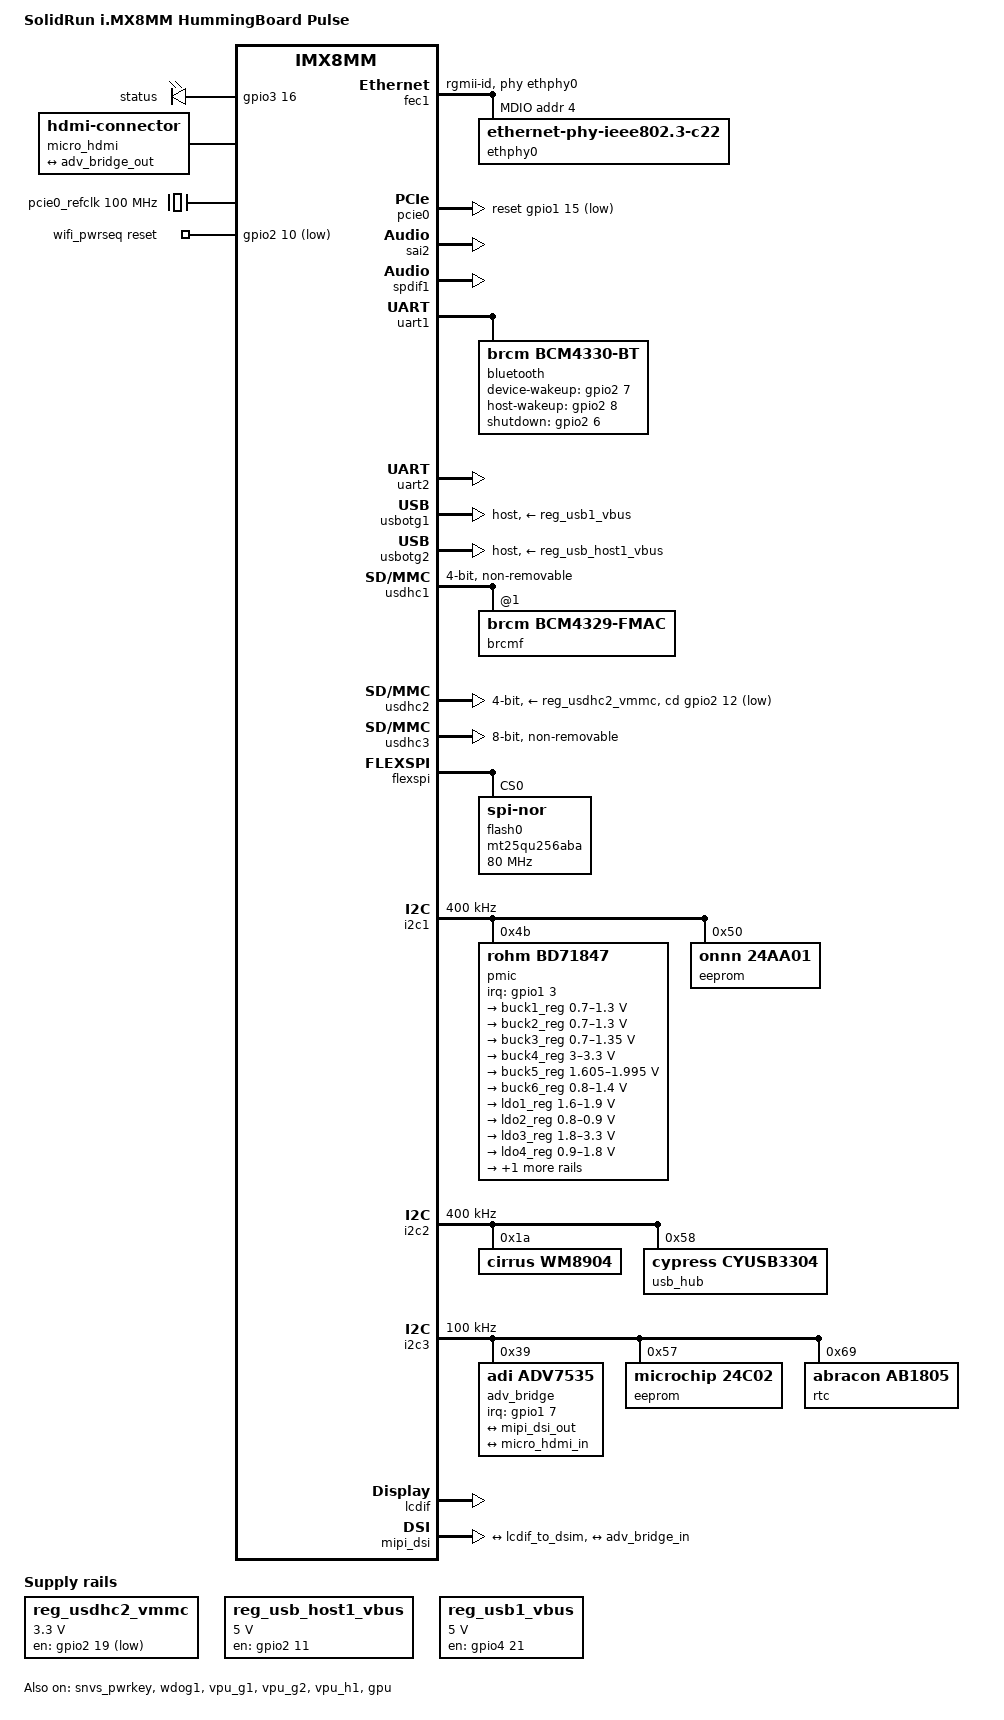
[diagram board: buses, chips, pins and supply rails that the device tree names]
// SPDX-License-Identifier: (GPL-2.0+ OR MIT)
/*
 * Copyright 2019 NXP
 * Copyright (C) 2020 Josua Mayer <josua@solid-run.com>
 */

/dts-v1/;

#include "imx8mm.dtsi"

/ {
	model = "SolidRun i.MX8MM HummingBoard Pulse";
	compatible = "solidrun,hummingboard-pulse", "fsl,imx8mm";

	reserved-memory {
		#address-cells = <2>;
		#size-cells = <2>;
		ranges;

		rpmsg_reserved: rpmsg@0xb8000000 {
			no-map;
			reg = <0 0xb8000000 0 0x400000>;
		};
	};

	chosen {
		stdout-path = &uart2;
	};

	leds {
		compatible = "gpio-leds";
		pinctrl-names = "default";
		pinctrl-0 = <&pinctrl_gpio_led>;

		status {
			label = "status";
			gpios = <&gpio3 16 GPIO_ACTIVE_HIGH>;
			default-state = "on";
		};
	};

	micro_hdmi: micro-hdmi {
		compatible = "hdmi-connector";
		type = "d";

		port@0 {
			micro_hdmi_in: endpoint {
				remote-endpoint = <&adv_bridge_out>;
			};
		};
	};

	pcie0_refclk: pcie0-refclk {
		compatible = "fixed-clock";
		#clock-cells = <0>;
		clock-frequency = <100000000>;
	};

	reg_usdhc2_vmmc: regulator-usdhc2 {
		compatible = "regulator-fixed";
		pinctrl-names = "default";
		pinctrl-0 = <&pinctrl_reg_usdhc2_vmmc>;
		regulator-name = "VSD_3V3";
		regulator-min-microvolt = <3300000>;
		regulator-max-microvolt = <3300000>;
		gpio = <&gpio2 19 GPIO_ACTIVE_LOW>;
		off-on-delay-us = <20000>;
	};

	reg_usb_host1_vbus: reg-usb-host1-vbus {
		compatible = "regulator-fixed";
		regulator-name = "usb-host1-vbus";
		gpio = <&gpio2 11 GPIO_ACTIVE_HIGH>;
		enable-active-high;
		regulator-boot-on;
		pinctrl-names = "default";
		pinctrl-0 = <&pinctrl_usb_host1_vbus>;
		regulator-min-microvolt = <5000000>;
		regulator-max-microvolt = <5000000>;
	};

	reg_usb1_vbus: reg-usb1-vbus {
		compatible = "regulator-fixed";
		regulator-name = "usb1-vbus";
		gpio = <&gpio4 21 GPIO_ACTIVE_HIGH>;
		enable-active-high;
		regulator-boot-on;
		pinctrl-names = "default";
		pinctrl-0 = <&pinctrl_usb1_vbus>;
		regulator-min-microvolt = <5000000>;
		regulator-max-microvolt = <5000000>;
	};

	sound-wm8904 {
		compatible = "simple-audio-card";
		simple-audio-card,name = "wm8904-audio";
		simple-audio-card,format = "i2s";
		simple-audio-card,frame-master = <&cpudai>;
		simple-audio-card,bitclock-master = <&cpudai>;
		simple-audio-card,widgets =
			"Headphone", "Headphone Jack",
			"Microphone", "Headphone Jack";
		simple-audio-card,routing =
			"Headphone Jack", "HPOUTL",
			"Headphone Jack", "HPOUTR",
			"Headphone Jack", "MICBIAS",
			"IN2R", "Headphone Jack";

		cpudai: simple-audio-card,cpu {
			sound-dai = <&sai2>;
			dai-tdm-slot-num = <2>;
			dai-tdm-slot-width = <16>;
		};

		simple-audio-card,codec {
			sound-dai = <&wm8904>;
		};
	};

	sound-spdif {
		compatible = "fsl,imx-audio-spdif";
		model = "imx-spdif";
		spdif-controller = <&spdif1>;
		spdif-out;
		spdif-in;
	};

	wifi_pwrseq: wifi-pwrseq {
		compatible = "mmc-pwrseq-simple";
		reset-gpios = <&gpio2 10 GPIO_ACTIVE_LOW>;
	};
};

&A53_0 {
	cpu-supply = <&buck2_reg>;
};

&fec1 {
	pinctrl-names = "default";
	pinctrl-0 = <&pinctrl_fec1>;
	phy-mode = "rgmii-id";
	phy-handle = <&ethphy0>;
	fsl,magic-packet;
	status = "okay";

	mdio {
		#address-cells = <1>;
		#size-cells = <0>;

		ethphy0: ethernet-phy@4 {
			compatible = "ethernet-phy-ieee802.3-c22";
			reg = <4>;
			at803x,led-act-blind-workaround;
			at803x,eee-okay;
			at803x,vddio-1p8v;
		};
	};
};

/* connected to on-Carrier i210 ethernet controller */
&pcie0 {
	pinctrl-names = "default";
	pinctrl-0 = <&pinctrl_pcie0>;
	disable-gpio = <&gpio1 5 GPIO_ACTIVE_LOW>;
	reset-gpio = <&gpio1 15 GPIO_ACTIVE_LOW>;
	clocks = <&clk IMX8MM_CLK_PCIE1_ROOT>,
		 <&clk IMX8MM_CLK_PCIE1_AUX>,
		 <&clk IMX8MM_CLK_PCIE1_PHY>,
		 <&pcie0_refclk>;
	clock-names = "pcie", "pcie_aux", "pcie_phy", "pcie_bus";
	ext_osc = <0>;
	hard-wired = <1>;
	reserved-region = <&rpmsg_reserved>;
	status = "okay";
};

&sai2 {
	#sound-dai-cells = <0>;
	pinctrl-names = "default";
	pinctrl-0 = <&pinctrl_sai2>;
	assigned-clocks = <&clk IMX8MM_CLK_SAI2>;
	assigned-clock-parents = <&clk IMX8MM_AUDIO_PLL1_OUT>;
	assigned-clock-rates = <24576000>;
	status = "okay";
};

&spdif1 {
	pinctrl-names = "default";
	pinctrl-0 = <&pinctrl_spdif1>;
	assigned-clocks = <&clk IMX8MM_CLK_SPDIF1>;
	assigned-clock-parents = <&clk IMX8MM_AUDIO_PLL1_OUT>;
	assigned-clock-rates = <24576000>;
	clocks = <&clk IMX8MM_CLK_AUDIO_AHB>, <&clk IMX8MM_CLK_24M>,
		<&clk IMX8MM_CLK_SPDIF1>, <&clk IMX8MM_CLK_DUMMY>,
		<&clk IMX8MM_CLK_DUMMY>, <&clk IMX8MM_CLK_DUMMY>,
		<&clk IMX8MM_CLK_AUDIO_AHB>, <&clk IMX8MM_CLK_DUMMY>,
		<&clk IMX8MM_CLK_DUMMY>, <&clk IMX8MM_CLK_DUMMY>,
		<&clk IMX8MM_AUDIO_PLL1_OUT>, <&clk IMX8MM_AUDIO_PLL2_OUT>;
	clock-names = "core", "rxtx0", "rxtx1", "rxtx2", "rxtx3",
		"rxtx4", "rxtx5", "rxtx6", "rxtx7", "spba", "pll8k", "pll11k";
	status = "okay";
};

&snvs_pwrkey {
	status = "okay";
};

&uart1 { /* BT */
	pinctrl-names = "default";
	pinctrl-0 = <&pinctrl_uart1>;
	assigned-clocks = <&clk IMX8MM_CLK_UART1>;
	assigned-clock-parents = <&clk IMX8MM_SYS_PLL1_80M>;
	fsl,uart-has-rtscts;
	status = "okay";

	bluetooth {
		compatible = "brcm,bcm4330-bt";
		device-wakeup-gpios = <&gpio2 7 GPIO_ACTIVE_HIGH>;
		host-wakeup-gpios = <&gpio2 8 GPIO_ACTIVE_HIGH>;
		shutdown-gpios = <&gpio2 6 GPIO_ACTIVE_HIGH>;
		pinctrl-names = "default";
		pinctrl-0 = <&pinctrl_uart1_bt>;
	};
};

&uart2 { /* console */
	pinctrl-names = "default";
	pinctrl-0 = <&pinctrl_uart2>;
	status = "okay";
};

&usbotg1 {
	dr_mode = "host";
	vbus-supply = <&reg_usb1_vbus>;
	status = "okay";
};

&usbotg2 {
	dr_mode = "host";
	vbus-supply = <&reg_usb_host1_vbus>;
	status = "okay";
};

&usdhc1 {
	#address-cells = <1>;
	#size-cells = <0>;
	pinctrl-names = "default", "state_100mhz", "state_200mhz";
	pinctrl-0 = <&pinctrl_usdhc1>, <&pinctrl_usdhc1_gpio>;
	pinctrl-1 = <&pinctrl_usdhc1_100mhz>, <&pinctrl_usdhc1_gpio>;
	pinctrl-2 = <&pinctrl_usdhc1_200mhz>, <&pinctrl_usdhc1_gpio>;
	bus-width = <4>;
	mmc-pwrseq = <&wifi_pwrseq>;
	cap-power-off-card;
	non-removable;
	status = "okay";

	brcmf: brcmf@1 {
		reg = <1>;
		compatible = "brcm,bcm4329-fmac";
		/*
		 * disable OOB IRQ because interrupt-storm was observed ...
		 * interrupt-parent = <&gpio2>;
		 * interrupts = <9 IRQ_TYPE_LEVEL_HIGH>;
		 * interrupt-names = "host-wake";
		 */
	};
};

&usdhc2 {
	pinctrl-names = "default", "state_100mhz", "state_200mhz";
	pinctrl-0 = <&pinctrl_usdhc2>, <&pinctrl_usdhc2_gpio>;
	pinctrl-1 = <&pinctrl_usdhc2_100mhz>, <&pinctrl_usdhc2_gpio>;
	pinctrl-2 = <&pinctrl_usdhc2_200mhz>, <&pinctrl_usdhc2_gpio>;
	cd-gpios = <&gpio2 12 GPIO_ACTIVE_LOW>;
	bus-width = <4>;
	vmmc-supply = <&reg_usdhc2_vmmc>;
	status = "okay";
};

&usdhc3 {
	pinctrl-names = "default", "state_100mhz", "state_200mhz";
	pinctrl-0 = <&pinctrl_usdhc3>;
	pinctrl-1 = <&pinctrl_usdhc3_100mhz>;
	pinctrl-2 = <&pinctrl_usdhc3_200mhz>;
	bus-width = <8>;
	non-removable;
	status = "okay";
};

&wdog1 {
	pinctrl-names = "default";
	pinctrl-0 = <&pinctrl_wdog>;
	fsl,ext-reset-output;
	status = "okay";
};

&flexspi {
	pinctrl-names = "default";
	pinctrl-0 = <&pinctrl_flexspi0>;
	status = "okay";

	flash0: mt25qu256aba@0 {
		reg = <0>;
		#address-cells = <1>;
		#size-cells = <1>;
		compatible = "jedec,spi-nor";
		spi-max-frequency = <80000000>;
		spi-tx-bus-width = <4>;
		spi-rx-bus-width = <4>;
	};
};

&i2c1 {
	clock-frequency = <400000>;
	pinctrl-names = "default";
	pinctrl-0 = <&pinctrl_i2c1>;
	status = "okay";

	pmic@4b {
		compatible = "rohm,bd71847";
		reg = <0x4b>;
		pinctrl-0 = <&pinctrl_pmic>;
		interrupt-parent = <&gpio1>;
		interrupts = <3 GPIO_ACTIVE_LOW>;
		rohm,reset-snvs-powered;

		regulators {
			buck1_reg: BUCK1 {
				regulator-name = "BUCK1";
				regulator-min-microvolt = <700000>;
				regulator-max-microvolt = <1300000>;
				regulator-boot-on;
				regulator-always-on;
				regulator-ramp-delay = <1250>;
			};

			buck2_reg: BUCK2 {
				regulator-name = "BUCK2";
				regulator-min-microvolt = <700000>;
				regulator-max-microvolt = <1300000>;
				regulator-boot-on;
				regulator-always-on;
				regulator-ramp-delay = <1250>;
				rohm,dvs-run-voltage = <1000000>;
				rohm,dvs-idle-voltage = <900000>;
			};

			buck3_reg: BUCK3 {
				// BUCK5 in datasheet
				regulator-name = "BUCK3";
				regulator-min-microvolt = <700000>;
				regulator-max-microvolt = <1350000>;
				regulator-boot-on;
				regulator-always-on;
			};

			buck4_reg: BUCK4 {
				// BUCK6 in datasheet
				regulator-name = "BUCK4";
				regulator-min-microvolt = <3000000>;
				regulator-max-microvolt = <3300000>;
				regulator-boot-on;
				regulator-always-on;
			};

			buck5_reg: BUCK5 {
				// BUCK7 in datasheet
				regulator-name = "BUCK5";
				regulator-min-microvolt = <1605000>;
				regulator-max-microvolt = <1995000>;
				regulator-boot-on;
				regulator-always-on;
			};

			buck6_reg: BUCK6 {
				// BUCK8 in datasheet
				regulator-name = "BUCK6";
				regulator-min-microvolt = <800000>;
				regulator-max-microvolt = <1400000>;
				regulator-boot-on;
				regulator-always-on;
			};

			ldo1_reg: LDO1 {
				regulator-name = "LDO1";
				regulator-min-microvolt = <1600000>;
				regulator-max-microvolt = <1900000>;
				regulator-boot-on;
				regulator-always-on;
			};

			ldo2_reg: LDO2 {
				regulator-name = "LDO2";
				regulator-min-microvolt = <800000>;
				regulator-max-microvolt = <900000>;
				regulator-boot-on;
				regulator-always-on;
			};

			ldo3_reg: LDO3 {
				regulator-name = "LDO3";
				regulator-min-microvolt = <1800000>;
				regulator-max-microvolt = <3300000>;
				regulator-boot-on;
				regulator-always-on;
			};

			ldo4_reg: LDO4 {
				regulator-name = "LDO4";
				regulator-min-microvolt = <900000>;
				regulator-max-microvolt = <1800000>;
				regulator-boot-on;
				regulator-always-on;
			};

			ldo6_reg: LDO6 {
				regulator-name = "LDO6";
				regulator-min-microvolt = <900000>;
				regulator-max-microvolt = <1800000>;
				regulator-boot-on;
				regulator-always-on;
			};
		};
	};

	eeprom@50 {
		compatible = "onnn,24aa01", "atmel,24c02";
		reg = <0x50>;
		pagesize = <16>;
	};
};

&i2c2 {
	clock-frequency = <400000>;
	pinctrl-names = "default";
	pinctrl-0 = <&pinctrl_i2c2>;
	status = "okay";

	wm8904: codec@1a {
		#sound-dai-cells = <0>;
		compatible = "cirrus,wm8904", "wlf,wm8904";
		reg = <0x1a>;
		clocks = <&clk IMX8MM_CLK_SAI2_ROOT>;
		clock-names = "mclk";
		status = "okay";
	};

	usb_hub@58 {
		compatible = "cypress,cyusb3304";
		reg = <0x58>;
	};
};

&i2c3 {
	clock-frequency = <100000>;
	pinctrl-names = "default";
	pinctrl-0 = <&pinctrl_i2c3>;
	status = "okay";

	adv_bridge: adv7535@39 {
		compatible = "adi,adv7535";
		reg = <0x39>;
		adi,addr-cec = <0x3c>;
		adi,dsi-lanes = <4>;
		adi,addr-edid = <0x3b>;
		pinctrl-names = "default";
		pinctrl-0 = <&pinctrl_i2c3_dsi_ts_int>;
		interrupt-parent = <&gpio1>;
		interrupts = <7 IRQ_TYPE_LEVEL_LOW>;
		status = "okay";

		ports {
			#address-cells = <1>;
			#size-cells = <0>;

			port@0 {
				reg = <0>;
				adv_bridge_in: endpoint {
					remote-endpoint = <&mipi_dsi_out>;
				};
			};

			port@1 {
				reg = <1>;
				adv_bridge_out: endpoint {
					remote-endpoint = <&micro_hdmi_in>;
				};
			};
		};
	};

	eeprom@57 {
		compatible = "microchip,24c02", "atmel,24c02";
		reg = <0x57>;
		pagesize = <16>;
	};

	rtc: am1805aq@69 {
		compatible = "abracon,ab1805";
		reg = <0x69>;
		abracon,tc-diode = "schottky";
		abracon,tc-resistor = <3>;
	};
};

&iomuxc {
	pinctrl-names = "default";

	pinctrl_fec1: fec1grp {
		fsl,pins = <
			MX8MM_IOMUXC_ENET_MDC_ENET1_MDC			0x3
			MX8MM_IOMUXC_ENET_MDIO_ENET1_MDIO		0x3
			MX8MM_IOMUXC_ENET_TD3_ENET1_RGMII_TD3		0x1f
			MX8MM_IOMUXC_ENET_TD2_ENET1_RGMII_TD2		0x1f
			MX8MM_IOMUXC_ENET_TD1_ENET1_RGMII_TD1		0x1f
			MX8MM_IOMUXC_ENET_TD0_ENET1_RGMII_TD0		0x1f
			MX8MM_IOMUXC_ENET_RD3_ENET1_RGMII_RD3		0x91
			MX8MM_IOMUXC_ENET_RD2_ENET1_RGMII_RD2		0x91
			MX8MM_IOMUXC_ENET_RD1_ENET1_RGMII_RD1		0x91
			MX8MM_IOMUXC_ENET_RD0_ENET1_RGMII_RD0		0x91
			MX8MM_IOMUXC_ENET_TXC_ENET1_RGMII_TXC		0x1f
			MX8MM_IOMUXC_ENET_RXC_ENET1_RGMII_RXC		0x91
			MX8MM_IOMUXC_ENET_RX_CTL_ENET1_RGMII_RX_CTL	0x91
			MX8MM_IOMUXC_ENET_TX_CTL_ENET1_RGMII_TX_CTL	0x1f
			MX8MM_IOMUXC_SAI2_RXC_GPIO4_IO22		0x19
		>;
	};

	pinctrl_flexspi0: flexspi0grp {
		fsl,pins = <
			MX8MM_IOMUXC_NAND_ALE_QSPI_A_SCLK               0x1c2
			MX8MM_IOMUXC_NAND_CE0_B_QSPI_A_SS0_B            0x82
			MX8MM_IOMUXC_NAND_DATA00_QSPI_A_DATA0           0x82
			MX8MM_IOMUXC_NAND_DATA01_QSPI_A_DATA1           0x82
			MX8MM_IOMUXC_NAND_DATA02_QSPI_A_DATA2           0x82
			MX8MM_IOMUXC_NAND_DATA03_QSPI_A_DATA3           0x82
		>;
	};

	pinctrl_usb_host1_vbus: usbhost1vbusgrp {
		fsl,pins = <
			MX8MM_IOMUXC_SD1_STROBE_GPIO2_IO11		0x03
		>;
	};

	pinctrl_usb1_vbus: usb1vbusgrp {
		fsl,pins = <
			MX8MM_IOMUXC_SAI2_RXFS_GPIO4_IO21		0x03
		>;
	};

	pinctrl_gpio_led: gpioledgrp {
		fsl,pins = <
			MX8MM_IOMUXC_NAND_READY_B_GPIO3_IO16		0x19
		>;
	};

	pinctrl_i2c1: i2c1grp {
		fsl,pins = <
			MX8MM_IOMUXC_I2C1_SCL_I2C1_SCL			0x400001c3
			MX8MM_IOMUXC_I2C1_SDA_I2C1_SDA			0x400001c3
		>;
	};

	pinctrl_i2c2: i2c2grp {
		fsl,pins = <
			MX8MM_IOMUXC_I2C2_SCL_I2C2_SCL			0x400001c3
			MX8MM_IOMUXC_I2C2_SDA_I2C2_SDA			0x400001c3
		>;
	};

	pinctrl_i2c3: i2c3grp {
		fsl,pins = <
			MX8MM_IOMUXC_I2C3_SCL_I2C3_SCL			0x400001c3
			MX8MM_IOMUXC_I2C3_SDA_I2C3_SDA			0x400001c3
		>;
	};

	pinctrl_mipi_dsi_en: mipi_dsi_en {
		fsl,pins = <
			MX8MM_IOMUXC_GPIO1_IO08_GPIO1_IO8		0x16
		>;
	};

	pinctrl_i2c3_dsi_ts_int: i2c3dsitsintgrp {
		fsl,pins = <
			MX8MM_IOMUXC_GPIO1_IO07_GPIO1_IO7		0x19
		>;
	};

	pinctrl_pcie0: pcie0grp {
		fsl,pins = <
			MX8MM_IOMUXC_UART4_RXD_PCIE1_CLKREQ_B	0x61 /* open drain, pull up */
			MX8MM_IOMUXC_GPIO1_IO05_GPIO1_IO5	0x41 /* disable-gpio */
			MX8MM_IOMUXC_GPIO1_IO15_GPIO1_IO15	0x41 /* reset-gpio */
		>;
	};

	pinctrl_pmic: pmicirq {
		fsl,pins = <
			MX8MM_IOMUXC_GPIO1_IO03_GPIO1_IO3		0x41
		>;
	};

	pinctrl_reg_usdhc2_vmmc: regusdhc2vmmc {
		fsl,pins = <
			MX8MM_IOMUXC_SD2_RESET_B_GPIO2_IO19	0x101
		>;
	};

	pinctrl_sai2: sai2grp {
		fsl,pins = <
			MX8MM_IOMUXC_SAI2_TXC_SAI2_TX_BCLK      0xd6
			MX8MM_IOMUXC_SAI2_TXFS_SAI2_TX_SYNC     0xd6
			MX8MM_IOMUXC_SAI2_MCLK_SAI2_MCLK        0xd6
			MX8MM_IOMUXC_SAI2_TXD0_SAI2_TX_DATA0    0xd6
			MX8MM_IOMUXC_SAI2_RXD0_SAI2_RX_DATA0    0xd6
		>;
	};

	pinctrl_spdif1: spdif1grp {
		fsl,pins = <
			MX8MM_IOMUXC_SPDIF_TX_SPDIF1_OUT	0xd6
			MX8MM_IOMUXC_SPDIF_RX_SPDIF1_IN		0xd6
		>;
	};

	pinctrl_uart1_bt: uart1btgrp {
		fsl,pins = <
			MX8MM_IOMUXC_SD1_DATA4_GPIO2_IO6	0x41	/* bt-en */
			MX8MM_IOMUXC_SD1_DATA6_GPIO2_IO8	0x41	/* bt-wake-host*/
			MX8MM_IOMUXC_SD1_DATA5_GPIO2_IO7	0x41	/* bt-wake-device*/
		>;
	};

	pinctrl_uart1: uart1grp {
		fsl,pins = <
			MX8MM_IOMUXC_UART1_RXD_UART1_DCE_RX	0x140
			MX8MM_IOMUXC_UART1_TXD_UART1_DCE_TX	0x140
			MX8MM_IOMUXC_UART3_RXD_UART1_DCE_CTS_B	0x140
			MX8MM_IOMUXC_UART3_TXD_UART1_DCE_RTS_B	0x140
		>;
	};

	pinctrl_uart2: uart2grp {
		fsl,pins = <
			MX8MM_IOMUXC_UART2_RXD_UART2_DCE_RX	0x140
			MX8MM_IOMUXC_UART2_TXD_UART2_DCE_TX	0x140
		>;
	};

	pinctrl_usdhc1_gpio: usdhc1grpgpio {
		fsl,pins = <
			MX8MM_IOMUXC_SD1_RESET_B_GPIO2_IO10	0x41	/* wl-en */
			MX8MM_IOMUXC_SD1_DATA7_GPIO2_IO9	0x141	/* wl-wake-host */
		>;
	};

	pinctrl_usdhc1: usdhc1grp {
		fsl,pins = <
			MX8MM_IOMUXC_SD1_CLK_USDHC1_CLK		0x190
			MX8MM_IOMUXC_SD1_CMD_USDHC1_CMD		0x1d0
			MX8MM_IOMUXC_SD1_DATA0_USDHC1_DATA0	0x1d0
			MX8MM_IOMUXC_SD1_DATA1_USDHC1_DATA1	0x1d0
			MX8MM_IOMUXC_SD1_DATA2_USDHC1_DATA2	0x1d0
			MX8MM_IOMUXC_SD1_DATA3_USDHC1_DATA3	0x1d0
			MX8MM_IOMUXC_GPIO1_IO00_ANAMIX_REF_CLK_32K 0x141
		>;
	};

	pinctrl_usdhc1_100mhz: usdhc1grp100mhz {
		fsl,pins = <
			MX8MM_IOMUXC_SD1_CLK_USDHC1_CLK		0x194
			MX8MM_IOMUXC_SD1_CMD_USDHC1_CMD		0x1d4
			MX8MM_IOMUXC_SD1_DATA0_USDHC1_DATA0	0x1d4
			MX8MM_IOMUXC_SD1_DATA1_USDHC1_DATA1	0x1d4
			MX8MM_IOMUXC_SD1_DATA2_USDHC1_DATA2	0x1d4
			MX8MM_IOMUXC_SD1_DATA3_USDHC1_DATA3	0x1d4
		>;
	};

	pinctrl_usdhc1_200mhz: usdhc1grp200mhz {
		fsl,pins = <
			MX8MM_IOMUXC_SD1_CLK_USDHC1_CLK		0x196
			MX8MM_IOMUXC_SD1_CMD_USDHC1_CMD		0x1d6
			MX8MM_IOMUXC_SD1_DATA0_USDHC1_DATA0	0x1d6
			MX8MM_IOMUXC_SD1_DATA1_USDHC1_DATA1	0x1d6
			MX8MM_IOMUXC_SD1_DATA2_USDHC1_DATA2	0x1d6
			MX8MM_IOMUXC_SD1_DATA3_USDHC1_DATA3	0x1d6
		>;
	};

	pinctrl_usdhc2_gpio: usdhc2grpgpio {
		fsl,pins = <
			MX8MM_IOMUXC_SD2_CD_B_GPIO2_IO12	0x1c4
		>;
	};

	pinctrl_usdhc2: usdhc2grp {
		fsl,pins = <
			MX8MM_IOMUXC_SD2_CLK_USDHC2_CLK		0x190
			MX8MM_IOMUXC_SD2_CMD_USDHC2_CMD		0x1d0
			MX8MM_IOMUXC_SD2_DATA0_USDHC2_DATA0	0x1d0
			MX8MM_IOMUXC_SD2_DATA1_USDHC2_DATA1	0x1d0
			MX8MM_IOMUXC_SD2_DATA2_USDHC2_DATA2	0x1d0
			MX8MM_IOMUXC_SD2_DATA3_USDHC2_DATA3	0x1d0
			MX8MM_IOMUXC_GPIO1_IO04_USDHC2_VSELECT	0x1d0
		>;
	};

	pinctrl_usdhc2_100mhz: usdhc2grp100mhz {
		fsl,pins = <
			MX8MM_IOMUXC_SD2_CLK_USDHC2_CLK		0x194
			MX8MM_IOMUXC_SD2_CMD_USDHC2_CMD		0x1d4
			MX8MM_IOMUXC_SD2_DATA0_USDHC2_DATA0	0x1d4
			MX8MM_IOMUXC_SD2_DATA1_USDHC2_DATA1	0x1d4
			MX8MM_IOMUXC_SD2_DATA2_USDHC2_DATA2	0x1d4
			MX8MM_IOMUXC_SD2_DATA3_USDHC2_DATA3	0x1d4
			MX8MM_IOMUXC_GPIO1_IO04_USDHC2_VSELECT	0x1d0
		>;
	};

	pinctrl_usdhc2_200mhz: usdhc2grp200mhz {
		fsl,pins = <
			MX8MM_IOMUXC_SD2_CLK_USDHC2_CLK		0x196
			MX8MM_IOMUXC_SD2_CMD_USDHC2_CMD		0x1d6
			MX8MM_IOMUXC_SD2_DATA0_USDHC2_DATA0	0x1d6
			MX8MM_IOMUXC_SD2_DATA1_USDHC2_DATA1	0x1d6
			MX8MM_IOMUXC_SD2_DATA2_USDHC2_DATA2	0x1d6
			MX8MM_IOMUXC_SD2_DATA3_USDHC2_DATA3	0x1d6
			MX8MM_IOMUXC_GPIO1_IO04_USDHC2_VSELECT	0x1d0
		>;
	};

	pinctrl_usdhc3: usdhc3grp {
		fsl,pins = <
			MX8MM_IOMUXC_NAND_WE_B_USDHC3_CLK		0x190
			MX8MM_IOMUXC_NAND_WP_B_USDHC3_CMD		0x1d0
			MX8MM_IOMUXC_NAND_DATA04_USDHC3_DATA0		0x1d0
			MX8MM_IOMUXC_NAND_DATA05_USDHC3_DATA1		0x1d0
			MX8MM_IOMUXC_NAND_DATA06_USDHC3_DATA2		0x1d0
			MX8MM_IOMUXC_NAND_DATA07_USDHC3_DATA3		0x1d0
			MX8MM_IOMUXC_NAND_RE_B_USDHC3_DATA4		0x1d0
			MX8MM_IOMUXC_NAND_CE2_B_USDHC3_DATA5		0x1d0
			MX8MM_IOMUXC_NAND_CE3_B_USDHC3_DATA6		0x1d0
			MX8MM_IOMUXC_NAND_CLE_USDHC3_DATA7		0x1d0
			MX8MM_IOMUXC_NAND_CE1_B_USDHC3_STROBE 		0x190
		>;
	};

	pinctrl_usdhc3_100mhz: usdhc3grp100mhz {
		fsl,pins = <
			MX8MM_IOMUXC_NAND_WE_B_USDHC3_CLK		0x194
			MX8MM_IOMUXC_NAND_WP_B_USDHC3_CMD		0x1d4
			MX8MM_IOMUXC_NAND_DATA04_USDHC3_DATA0		0x1d4
			MX8MM_IOMUXC_NAND_DATA05_USDHC3_DATA1		0x1d4
			MX8MM_IOMUXC_NAND_DATA06_USDHC3_DATA2		0x1d4
			MX8MM_IOMUXC_NAND_DATA07_USDHC3_DATA3		0x1d4
			MX8MM_IOMUXC_NAND_RE_B_USDHC3_DATA4		0x1d4
			MX8MM_IOMUXC_NAND_CE2_B_USDHC3_DATA5		0x1d4
			MX8MM_IOMUXC_NAND_CE3_B_USDHC3_DATA6		0x1d4
			MX8MM_IOMUXC_NAND_CLE_USDHC3_DATA7		0x1d4
			MX8MM_IOMUXC_NAND_CE1_B_USDHC3_STROBE 		0x194
		>;
	};

	pinctrl_usdhc3_200mhz: usdhc3grp200mhz {
		fsl,pins = <
			MX8MM_IOMUXC_NAND_WE_B_USDHC3_CLK		0x196
			MX8MM_IOMUXC_NAND_WP_B_USDHC3_CMD		0x1d6
			MX8MM_IOMUXC_NAND_DATA04_USDHC3_DATA0		0x1d6
			MX8MM_IOMUXC_NAND_DATA05_USDHC3_DATA1		0x1d6
			MX8MM_IOMUXC_NAND_DATA06_USDHC3_DATA2		0x1d6
			MX8MM_IOMUXC_NAND_DATA07_USDHC3_DATA3		0x1d6
			MX8MM_IOMUXC_NAND_RE_B_USDHC3_DATA4		0x1d6
			MX8MM_IOMUXC_NAND_CE2_B_USDHC3_DATA5		0x1d6
			MX8MM_IOMUXC_NAND_CE3_B_USDHC3_DATA6		0x1d6
			MX8MM_IOMUXC_NAND_CLE_USDHC3_DATA7		0x1d6
			MX8MM_IOMUXC_NAND_CE1_B_USDHC3_STROBE 		0x196
		>;
	};

	pinctrl_wdog: wdoggrp {
		fsl,pins = <
			MX8MM_IOMUXC_GPIO1_IO02_WDOG1_WDOG_B		0xc6
		>;
	};
};

&lcdif {
	status = "okay";
};

&lcdif_to_dsim {
	remote-endpoint = <&mipi_dsi_in>;
};

&mipi_dsi {
	status = "okay";

	/delete-node/ port@0;
	ports {
		#address-cells = <1>;
		#size-cells = <0>;

		port@0 {
			reg = <0>;
			mipi_dsi_in: endpoint {
				remote-endpoint = <&lcdif_to_dsim>;
			};
		};

		port@1 {
			reg = <1>;
			mipi_dsi_out: endpoint {
				remote-endpoint = <&adv_bridge_in>;
				attach-bridge;
			};
		};
	};
};

&vpu_g1 {
	status = "okay";
};

&vpu_g2 {
	status = "okay";
};

&vpu_h1 {
	status = "okay";
};

&gpu {
	status = "okay";
};
